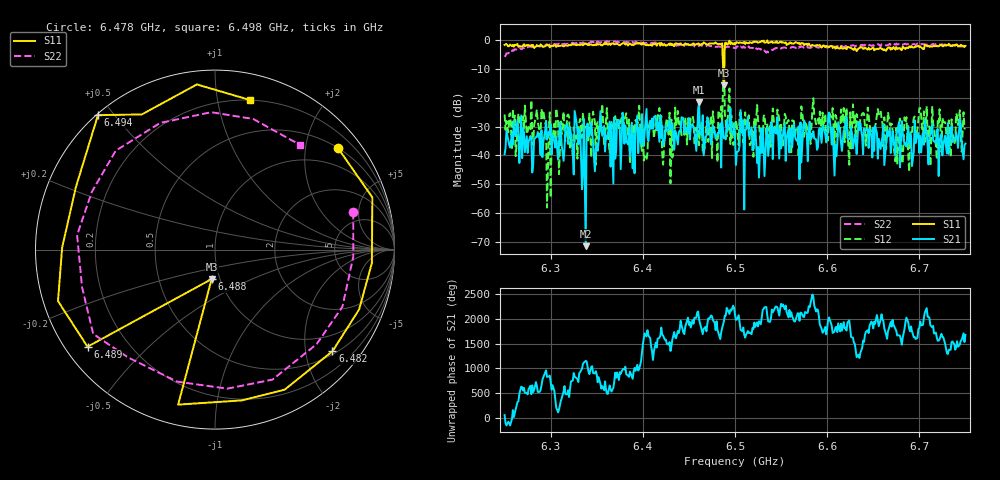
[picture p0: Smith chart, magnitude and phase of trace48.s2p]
# Hz S RI R 50
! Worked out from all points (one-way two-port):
!   401 points, 6.25 GHz to 6.75 GHz, reference 50 ohm
!   highest |S21| = -21.60 dB at 6.461 GHz (marker M1); lowest = -71.6 dB at 6.338 GHz (marker M2)
!   lowest |S11| = -15.6 dB at 6.488 GHz (marker M3), VSWR 1.40, Z = 45.7 - j15.4 ohm
!   |S11| at or under -10 dB: 6.487228 GHz to 6.488385 GHz (1.157 MHz wide, 0.0178 % of centre)
!   |S22| runs from -5.6 to -0.2 dB; largest |S21 - S12| = 0.69
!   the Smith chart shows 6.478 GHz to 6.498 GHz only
!   S11 on the Smith chart (normalised r, x): 6.478 GHz: 0.51, +2.71; 6.482 GHz: 0.57, -2.57; 6.488 GHz: 0.91, -0.31; 6.489 GHz: 0.06, -0.34; 6.494 GHz: 0.00, +0.46; 6.498 GHz: 0.20, +1.24
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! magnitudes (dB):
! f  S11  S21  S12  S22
! 6.25 GHz  -1.6  -39.6  -25.8  -5.6
! 6.292 GHz  -2.2  -35.5  -24.4  -2.1
! 6.299 GHz  -2.4  -32.9  -25.0  -1.4
! 6.305 GHz  -1.6  -37.3  -36.3  -1.4
! 6.334 GHz  -1.3  -51.8  -34.0  -1.0
! 6.338 GHz  -1.1  -71.6  -30.0  -0.8
! 6.341 GHz  -1.3  -33.0  -30.8  -0.9
! 6.38 GHz  -1.0  -35.9  -27.2  -0.6
! 6.404 GHz  -1.7  -23.8  -41.6  -0.9
! 6.418 GHz  -1.0  -35.3  -23.5  -1.1
! 6.461 GHz  -1.2  -21.6  -36.5  -1.9
! 6.478 GHz  -1.0  -31.9  -32.8  -2.0
! 6.482 GHz  -1.3  -32.4  -24.4  -2.0
! 6.488 GHz  -15.6  -34.1  -3.0  -1.7
! 6.489 GHz  -1.0  -33.8  -25.9  -2.3
! 6.494 GHz  -0.1  -28.9  -16.7  -2.3
! 6.498 GHz  -1.4  -32.9  -36.4  -2.5
! 6.5 GHz  -1.4  -33.7  -33.7  -2.5
! 6.584 GHz  -1.5  -33.4  -23.8  -2.1
! 6.668 GHz  -2.4  -30.5  -29.2  -1.2
! 6.674 GHz  -3.2  -40.2  -42.1  -1.5
! 6.75 GHz  -1.9  -35.9  -30.6  -2.1
